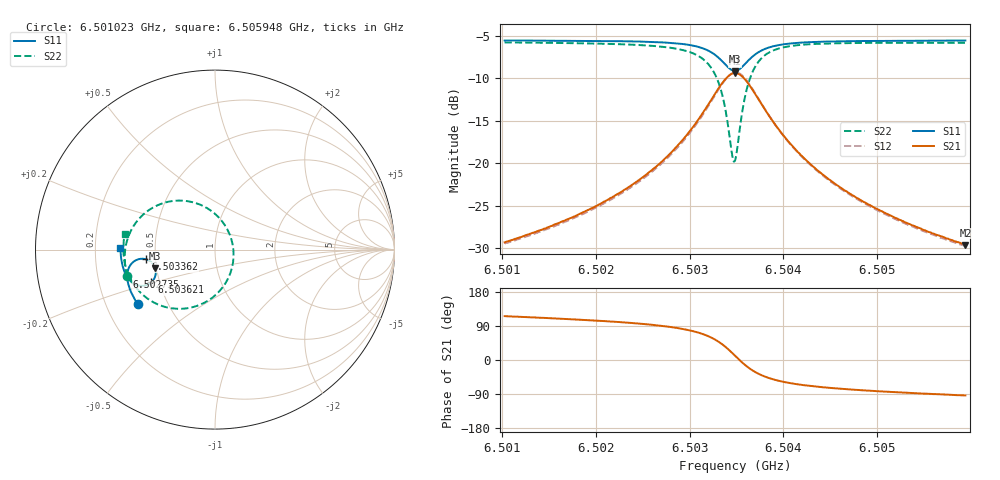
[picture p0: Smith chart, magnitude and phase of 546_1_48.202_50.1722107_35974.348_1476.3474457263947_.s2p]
#  HZ  S  RI  R  50.00
! Rohde & Schwarz Vector Network Analyzer
! Rohde-Schwarz,ZNB20-2Port,1311601062101988,3.16
! Created: UTC 3/20/2024, 12:00:35 PM
! freq[Hz]  re:S11  im:S11  re:S21  im:S21  re:S12  im:S12  re:S22  im:S22
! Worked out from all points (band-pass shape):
!   401 points, 6.501023 GHz to 6.505948 GHz, reference 50 ohm
!   highest |S21| = -9.41 dB at 6.503486 GHz (marker M1); lowest = -29.6 dB at 6.505948 GHz (marker M2)
!   |S21| within 3 dB of the highest: 6.50324 GHz to 6.503732 GHz (492.2 kHz wide, 0.00757 % of centre)
!   lowest |S11| = -9.1 dB at 6.503486 GHz (marker M3), VSWR 2.07, Z = 24.6 - j5.81 ohm
!   |S11| at or under -10 dB: nowhere
!   |S22| runs from -19.8 to -5.8 dB; largest |S21 - S12| = 0.011
!   S11 on the Smith chart (normalised r, x): 6.501023 GHz: 0.34, -0.29; 6.502735 GHz: 0.33, -0.14; 6.503362 GHz: 0.44, -0.06; 6.503621 GHz: 0.45, -0.19; 6.505948 GHz: 0.31, +0.01
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6.5010231e9  -0.4295 -0.3056  -0.0149 0.0308  -0.0131 0.0308  -0.4914 -0.149
6.501848e9  -0.4644 -0.2439  -0.0141 0.0489  -0.0118 0.0484  -0.5035 -0.0603
6.5022667e9  -0.479 -0.2068  -0.0114 0.0665  -0.00854 0.0656  -0.5008 -0.00072
6.502673e9  -0.4885 -0.1615  -0.00148 0.0987  0.00188 0.0964  -0.4794 0.0811
6.5027345e9  -0.4893 -0.1533  0.00148 0.106  0.00514 0.1035  -0.4724 0.0973
6.5029562e9  -0.4857 -0.1182  0.0235 0.1411  0.0271 0.1371  -0.4267 0.1679
6.5031162e9  -0.4711 -0.086  0.0627 0.1773  0.0654 0.1717  -0.3504 0.2314
6.503264e9  -0.4335 -0.0562  0.1441 0.2062  0.1448 0.2003  -0.2021 0.273
6.5033625e9  -0.3871 -0.053  0.2355 0.1899  0.2357 0.1856  -0.0439 0.231
6.5034487e9  -0.3441 -0.0819  0.3141 0.1158  0.3166 0.1119  0.0815 0.0847
6.5034733e9  -0.3359 -0.0962  0.3275 0.0838  0.3311 0.0795  0.0989 0.0247
6.5034856e9  -0.3331 -0.104  0.3319 0.067  0.3357 0.062  0.1027 -0.00679
6.5035102e9  -0.3299 -0.1202  0.3355 0.0325  0.3397 0.0261  0.1007 -0.0703
6.5035472e9  -0.3321 -0.1444  0.3284 -0.0178  0.3322 -0.0265  0.0737 -0.1592
6.5036211e9  -0.3543 -0.1817  0.2818 -0.0945  0.282 -0.1057  -0.0363 -0.2827
6.5037319e9  -0.4 -0.2019  0.1947 -0.1401  0.1898 -0.1498  -0.2125 -0.3296
6.5038919e9  -0.4473 -0.1923  0.1107 -0.1364  0.1038 -0.1414  -0.3638 -0.2812
6.5040643e9  -0.4753 -0.1709  0.0651 -0.1153  0.059 -0.1177  -0.4373 -0.2146
6.5043106e9  -0.4961 -0.141  0.0346 -0.0902  0.0298 -0.0908  -0.4815 -0.1412
6.50468e9  -0.512 -0.1019  0.0152 -0.0664  0.0119 -0.0659  -0.5043 -0.0657
6.5051355e9  -0.5214 -0.0593  0.00504 -0.0492  0.00292 -0.0486  -0.5105 0.000131
6.5059482e9  -0.5265 0.00978  -0.0021 -0.0329  -0.00334 -0.0323  -0.503 0.0874
